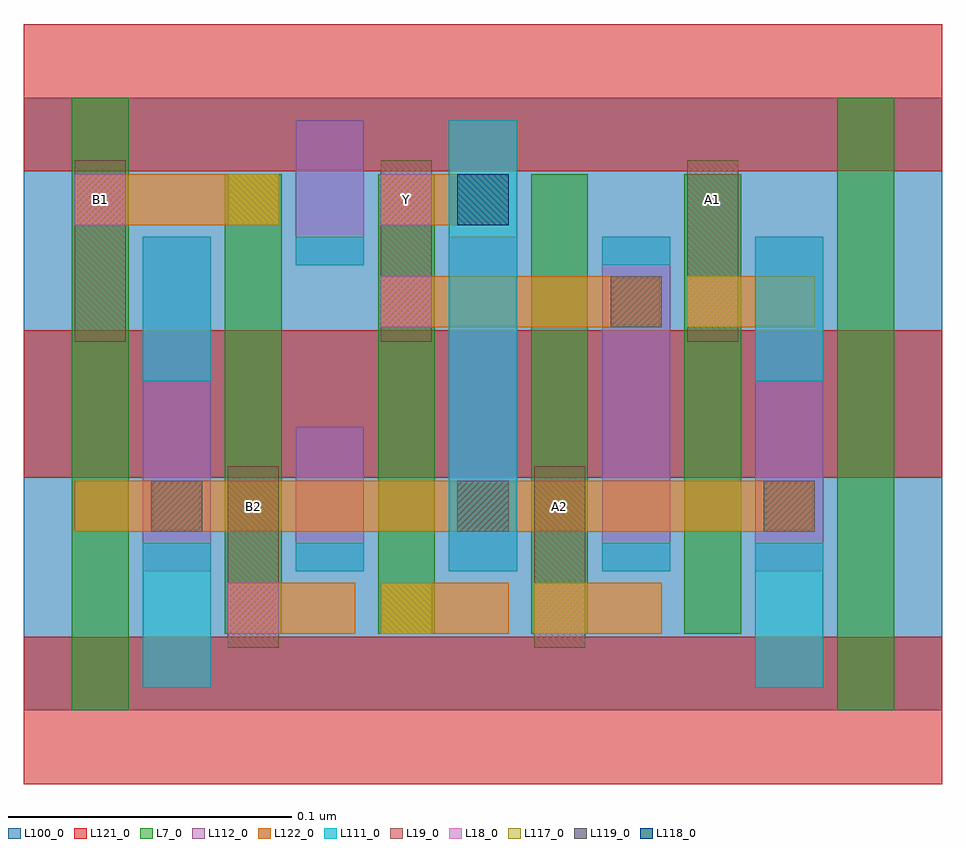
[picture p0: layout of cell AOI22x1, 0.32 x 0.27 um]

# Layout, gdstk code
import gdstk
lib = gdstk.Library(unit=1e-6, precision=2.5e-10)
def R(c, l, rs):  # rectangles x0, y0, x1, y1
    for r in rs: c.add(gdstk.rectangle(r[:2], r[2:], *l))
def A(c, l, x, y, w, h, nx, ny, dx, dy):  # array of equal rectangles
    R(c, l, [(x+i*dx, y+j*dy, x+i*dx+w, y+j*dy+h) for i in range(nx) for j in range(ny)])
L7_0 = (7, 0)
L18_0 = (18, 0)
L19_0 = (19, 0)
L100_0 = (100, 0)
L111_0 = (111, 0)
L112_0 = (112, 0)
L117_0 = (117, 0)
L118_0 = (118, 0)
L119_0 = (119, 0)
L121_0 = (121, 0)
L122_0 = (122, 0)

aoi22x1 = lib.new_cell('AOI22x1')
A(aoi22x1, L7_0, 0.071, 0.027, 0.02, 0.081, 4, 2, 0.054, 0.081)
R(aoi22x1, L7_0, [(0.017,0,0.037,0.108), (0.287,0,0.307,0.108), (0.017,0.108,0.037,0.216), (0.287,0.108,0.307,0.216)])
R(aoi22x1, L18_0, [(0.072,0.027,0.09,0.045), (0.18,0.027,0.198,0.045), (0.126,0.135,0.144,0.153), (0.234,0.135,0.252,0.153), (0.018,0.171,0.036,0.189), (0.126,0.171,0.144,0.189)])
A(aoi22x1, L19_0, 0.018, 0.13, 0.018, 0.064, 3, 1, 0.108, 0)
R(aoi22x1, L19_0, [(0.072,0.022,0.09,0.086), (0.18,0.022,0.198,0.086)])
R(aoi22x1, L100_0, [(0,0,0.324,0.216)])
R(aoi22x1, L111_0, [(0.042,0.008,0.066,0.059), (0.258,0.008,0.282,0.059), (0.096,0.049,0.12,0.059), (0.15,0.049,0.174,0.108), (0.204,0.049,0.228,0.059), (0.15,0.108,0.174,0.208), (0.042,0.116,0.066,0.167), (0.258,0.116,0.282,0.167), (0.096,0.157,0.12,0.167), (0.204,0.157,0.228,0.167)])
A(aoi22x1, L112_0, 0.15, 0.049, 0.024, 0.059, 3, 2, 0.054, 0.059)
R(aoi22x1, L112_0, [(0.042,0.049,0.066,0.108), (0.096,0.049,0.12,0.1), (0.042,0.108,0.066,0.167), (0.096,0.157,0.12,0.208)])
R(aoi22x1, L117_0, [(0.126,0.027,0.144,0.045), (0.18,0.027,0.198,0.045), (0.234,0.135,0.252,0.153), (0.072,0.171,0.09,0.189)])
R(aoi22x1, L118_0, [(0.153,0.171,0.171,0.189)])
A(aoi22x1, L119_0, 0.045, 0.063, 0.018, 0.018, 3, 1, 0.108, 0)
R(aoi22x1, L119_0, [(0.207,0.135,0.225,0.153)])
A(aoi22x1, L121_0, 0, -0.026, 0.324, 0.052, 1, 3, 0, 0.108)
A(aoi22x1, L122_0, 0.072, 0.027, 0.045, 0.018, 3, 1, 0.054, 0)
R(aoi22x1, L122_0, [(0.018,0.063,0.279,0.081), (0.126,0.135,0.225,0.153), (0.234,0.135,0.279,0.153), (0.018,0.171,0.09,0.189), (0.126,0.171,0.171,0.189)])
aoi22x1.add(gdstk.Label('Y', (0.135,0.18), layer=19, texttype=251))
aoi22x1.add(gdstk.Label('B2', (0.081,0.072), layer=19, texttype=251))
aoi22x1.add(gdstk.Label('B1', (0.027,0.18), layer=19, texttype=251))
aoi22x1.add(gdstk.Label('A2', (0.189,0.072), layer=19, texttype=251))
aoi22x1.add(gdstk.Label('A1', (0.243,0.18), layer=19, texttype=251))

lib.write_gds('AOI22x1.gds')
